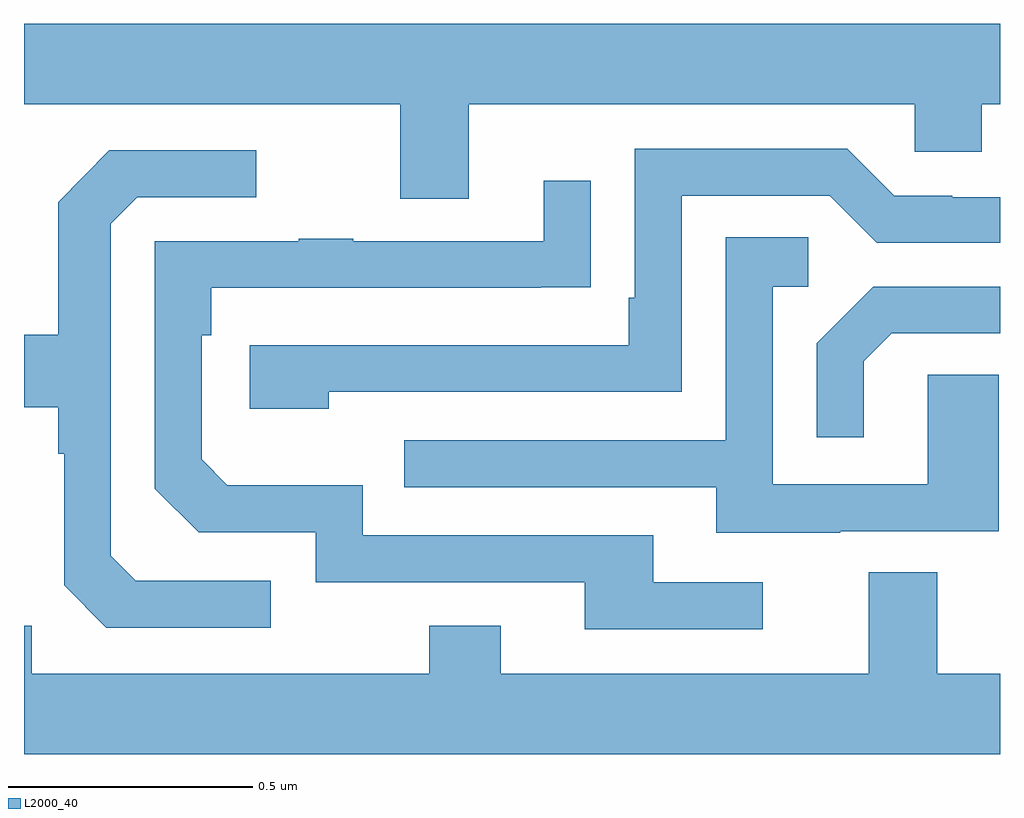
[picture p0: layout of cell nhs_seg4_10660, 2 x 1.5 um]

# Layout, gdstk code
import gdstk
lib = gdstk.Library(unit=1e-6, precision=1e-09)
def P(c, l, *ps):  # polygons
    for p in ps: c.add(gdstk.Polygon(p, *l))
L2000_40 = (2000, 40)

nhs_seg4_10660 = lib.new_cell('nhs_seg4_10660')
P(nhs_seg4_10660, L2000_40, [(242.911,831.452),(243.825,831.452),(243.825,831.354),(243.963,831.354),(243.963,831.452),(244,831.452),(244,831.616),(242,831.616),(242,831.452),(242.771,831.452),(242.771,831.258),(242.911,831.258)],
  [(242.624,830.862),(243.348,830.862),(243.348,831.264),(243.651,831.264),(243.747,831.168),(244,831.168),(244,831.261),(243.902,831.261),(243.902,831.264),(243.783,831.264),(243.687,831.36),(243.252,831.36),(243.252,831.055),(243.239,831.055),(243.239,830.958),(242.463,830.958),(242.463,830.828),(242.624,830.828)],
  [(242.506,830.475),(242.229,830.475),(242.178,830.526),(242.178,831.207),(242.232,831.261),(242.476,831.261),(242.476,831.357),(242.175,831.357),(242.07,831.251),(242.07,830.979),(242,830.979),(242,830.831),(242.07,830.831),(242.07,830.735),(242.082,830.735),(242.082,830.466),(242.169,830.379),(242.506,830.379)],
  [(243.514,830.472),(243.289,830.472),(243.289,830.568),(242.694,830.568),(242.694,830.671),(242.417,830.671),(242.364,830.724),(242.364,830.978),(242.384,830.978),(242.384,831.075),(243.059,831.075),(243.059,831.076),(243.161,831.076),(243.161,831.295),(243.065,831.295),(243.065,831.171),(242.675,831.171),(242.675,831.176),(242.563,831.176),(242.563,831.171),(242.268,831.171),(242.268,830.664),(242.358,830.574),(242.598,830.574),(242.598,830.472),(243.149,830.472),(243.149,830.376),(243.514,830.376)],
  [(243.673,830.577),(243.997,830.577),(243.997,830.897),(243.852,830.897),(243.852,830.673),(243.534,830.673),(243.534,831.078),(243.607,831.078),(243.607,831.179),(243.438,831.179),(243.438,830.763),(242.779,830.763),(242.779,830.667),(243.419,830.667),(243.419,830.573),(243.673,830.573)],
  [(243.721,830.925),(243.778,830.982),(244,830.982),(244,831.078),(243.74,831.078),(243.624,830.962),(243.624,830.769),(243.721,830.769)],
  [(244,830.284),(243.871,830.284),(243.871,830.492),(243.731,830.492),(243.731,830.284),(242.977,830.284),(242.977,830.383),(242.83,830.383),(242.83,830.284),(242.016,830.284),(242.016,830.383),(242,830.383),(242,830.12),(244,830.12)])

lib.write_gds('nhs_seg4_10660.gds')
